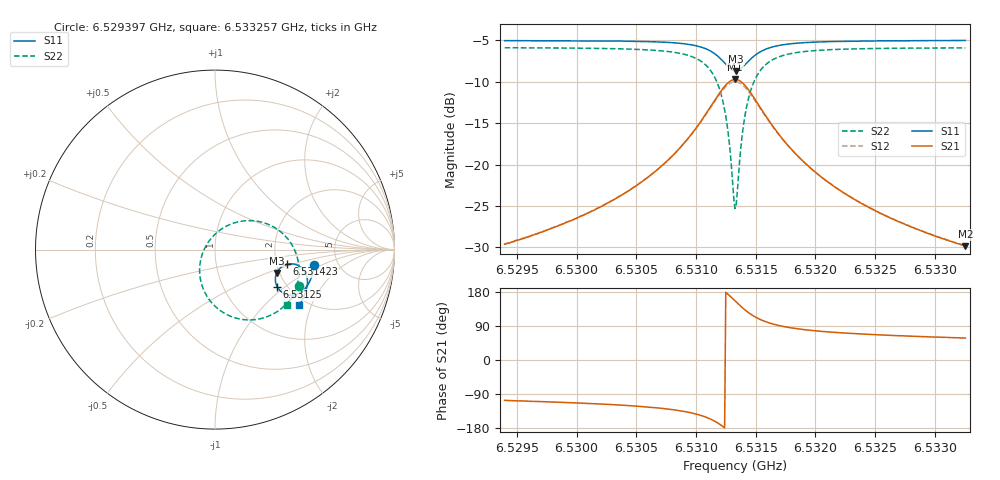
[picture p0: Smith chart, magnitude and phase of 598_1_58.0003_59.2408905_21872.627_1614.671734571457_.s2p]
#  HZ  S  RI  R  50.00
! Rohde & Schwarz Vector Network Analyzer
! Rohde-Schwarz,ZNB20-2Port,1311601062101988,3.16
! Created: UTC 3/21/2024, 1:17:06 AM
! freq[Hz]  re:S11  im:S11  re:S21  im:S21  re:S12  im:S12  re:S22  im:S22
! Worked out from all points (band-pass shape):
!   401 points, 6.529397 GHz to 6.533257 GHz, reference 50 ohm
!   highest |S21| = -9.72 dB at 6.531327 GHz (marker M1); lowest = -29.9 dB at 6.533257 GHz (marker M2)
!   |S21| within 3 dB of the highest: 6.531136 GHz to 6.531521 GHz (385.4 kHz wide, 0.0059 % of centre)
!   lowest |S11| = -8.7 dB at 6.531337 GHz (marker M3), VSWR 2.16, Z = 96.6 - j29.1 ohm
!   |S11| at or under -10 dB: nowhere
!   |S22| runs from -25.3 to -5.9 dB; largest |S21 - S12| = 0.013
!   S11 on the Smith chart (normalised r, x): 6.529397 GHz: 3.32, -0.84; 6.53125 GHz: 1.78, -0.88; 6.531423 GHz: 2.28, -0.45; 6.533257 GHz: 1.83, -1.64
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6.5293968e9  0.5539 -0.0868  -0.00934 -0.0317  -0.0101 -0.0315  0.4654 -0.2031
6.5300434e9  0.5414 -0.1411  -0.0198 -0.045  -0.0211 -0.0444  0.4307 -0.263
6.5304198e9  0.5279 -0.1769  -0.034 -0.0592  -0.0358 -0.0583  0.3932 -0.3074
6.53069e9  0.5102 -0.207  -0.0569 -0.076  -0.0591 -0.0744  0.3422 -0.3481
6.5309216e9  0.4792 -0.2371  -0.1025 -0.0959  -0.1054 -0.0922  0.2505 -0.3856
6.5310857e9  0.4305 -0.2537  -0.1782 -0.0982  -0.1801 -0.0905  0.1133 -0.3807
6.5311822e9  0.3818 -0.2428  -0.2527 -0.0625  -0.2505 -0.0518  -0.0089 -0.3063
6.5312497e9  0.3469 -0.2078  -0.3022 0.00799  -0.2943 0.018  -0.0782 -0.1796
6.5312787e9  0.3381 -0.1843  -0.312 0.0518  -0.3014 0.0599  -0.0857 -0.1057
6.5313173e9  0.3382 -0.1482  -0.3048 0.116  -0.2926 0.1199  -0.0619 -0.00248
6.531327e9  0.3405 -0.1392  -0.2991 0.1315  -0.2866 0.1345  -0.0497 0.0218
6.5313366e9  0.3437 -0.1304  -0.2917 0.1464  -0.2794 0.1482  -0.0351 0.0448
6.5313463e9  0.3481 -0.1222  -0.283 0.1606  -0.2709 0.1613  -0.0184 0.0661
6.5313849e9  0.3719 -0.0957  -0.2373 0.2052  -0.2273 0.2028  0.064 0.131
6.5314235e9  0.4014 -0.0817  -0.1844 0.2281  -0.1772 0.2241  0.155 0.1594
6.531491e9  0.4475 -0.0825  -0.1038 0.2274  -0.1004 0.2238  0.2892 0.1437
6.5315875e9  0.4875 -0.1066  -0.036 0.192  -0.0344 0.19  0.398 0.0683
6.5317323e9  0.5099 -0.1447  0.00386 0.1406  0.00504 0.1401  0.4556 -0.0341
6.5319736e9  0.5149 -0.1892  0.0197 0.0914  0.0209 0.0909  0.4675 -0.136
6.5322534e9  0.5086 -0.224  0.0216 0.0629  0.0226 0.0625  0.4561 -0.201
6.5326202e9  0.4962 -0.2588  0.0201 0.0435  0.021 0.0433  0.4357 -0.2531
6.5332571e9  0.4708 -0.3074  0.0171 0.0273  0.0176 0.027  0.4005 -0.3111
